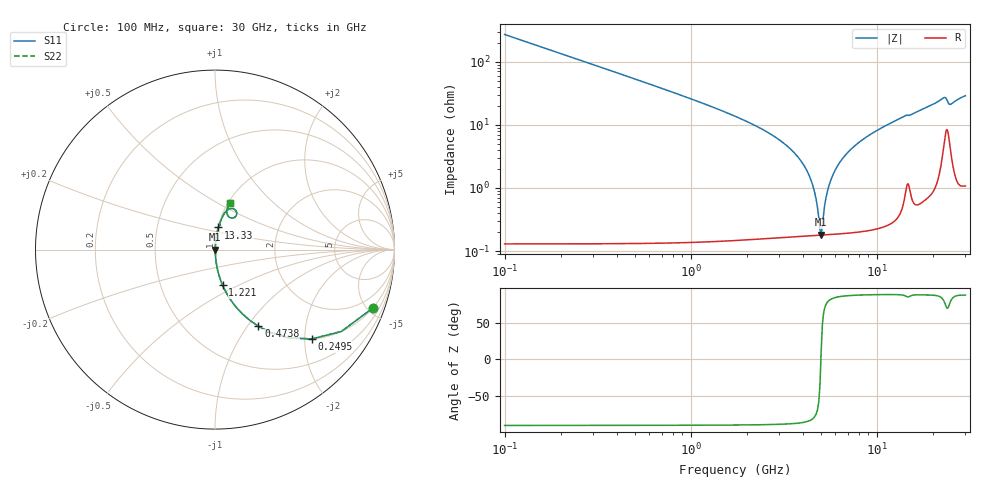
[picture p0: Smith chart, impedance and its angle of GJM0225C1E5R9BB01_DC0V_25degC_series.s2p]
!Murata Part Number: GJM0225C1E5R9BB01
!These Parameters are Measured in Series Mode Connection
!  o--ll--o
!Port1  Port2
!  o------o
!Operation Temp=25[degC], DC Bias Voltage=0[V]
!Freq. Start=100[MHz] Stop=30[GHz], 401[Steps]
!Data Generated on Feb 1, 2023
# Hz S RI R 50
!Freq.(Hz) S11(Real) S11(Imag) S21(Real) S21(Imag) S12(Real) S12(Imag) S22(Real) S22(Imag)
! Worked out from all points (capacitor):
!   401 points, 100 MHz to 30 GHz, reference 50 ohm
!   read as one part in series: C = 5.9 pF near 249.5 MHz
!   lowest |Z| = 183 mohm at 5.034 GHz (marker M1)
!   series resonance near 5.016 GHz, so ESL is about 170 pH
!   S11 on the Smith chart (normalised r, x): 100 MHz: 1.00, -5.39; 249.5 MHz: 1.00, -2.16; 473.8 MHz: 1.00, -1.13; 1.221 GHz: 1.00, -0.42; 13.33 GHz: 1.01, +0.25; 30 GHz: 1.02, +0.58
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1e8  0.879 -0.3259  0.121 0.3259  0.121 0.3259  0.879 -0.3259
2.495e8  0.5377 -0.498  0.4623 0.498  0.4623 0.498  0.5377 -0.498
4.7375e8  0.242 -0.4271  0.758 0.4271  0.758 0.4271  0.242 -0.4271
7.7275e8  0.105 -0.3045  0.895 0.3045  0.895 0.3045  0.105 -0.3045
1.22125e9  0.0426 -0.1985  0.9574 0.1985  0.9574 0.1985  0.0426 -0.1985
3.987e9  0.00233 -0.0248  0.9977 0.0248  0.9977 0.0248  0.00233 -0.0248
4.51025e9  0.00188 -0.0114  0.9981 0.0114  0.9981 0.0114  0.00188 -0.0114
4.65975e9  0.00182 -0.0079  0.9982 0.0079  0.9982 0.0079  0.00182 -0.0079
4.884e9  0.00179 -0.00286  0.9982 0.00286  0.9982 0.00286  0.00179 -0.00286
5.0335e9  0.00179 0.000365  0.9982 -0.000365  0.9982 -0.000365  0.00179 0.000365
5.10825e9  0.0018 0.00194  0.9982 -0.00194  0.9982 -0.00194  0.0018 0.00194
5.3325e9  0.00185 0.00655  0.9982 -0.00655  0.9982 -0.00655  0.00185 0.00655
5.55675e9  0.00194 0.011  0.9981 -0.011  0.9981 -0.011  0.00194 0.011
6.379e9  0.00255 0.026  0.9974 -0.026  0.9974 -0.026  0.00255 0.026
7.79925e9  0.00438 0.0488  0.9956 -0.0488  0.9956 -0.0488  0.00438 0.0488
1.01165e10  0.00896 0.0815  0.991 -0.0815  0.991 -0.0815  0.00896 0.0815
1.333075e10  0.0194 0.1234  0.9806 -0.1234  0.9806 -0.1234  0.0194 0.1234
1.505e10  0.0286 0.1364  0.9714 -0.1364  0.9714 -0.1364  0.0286 0.1364
2.005825e10  0.0498 0.1981  0.9502 -0.1981  0.9502 -0.1981  0.0498 0.1981
2.304825e10  0.1053 0.226  0.8947 -0.226  0.8947 -0.226  0.1053 0.226
2.50665e10  0.0727 0.1875  0.9273 -0.1875  0.9273 -0.1875  0.0727 0.1875
3e10  0.0855 0.2617  0.9145 -0.2617  0.9145 -0.2617  0.0855 0.2617
